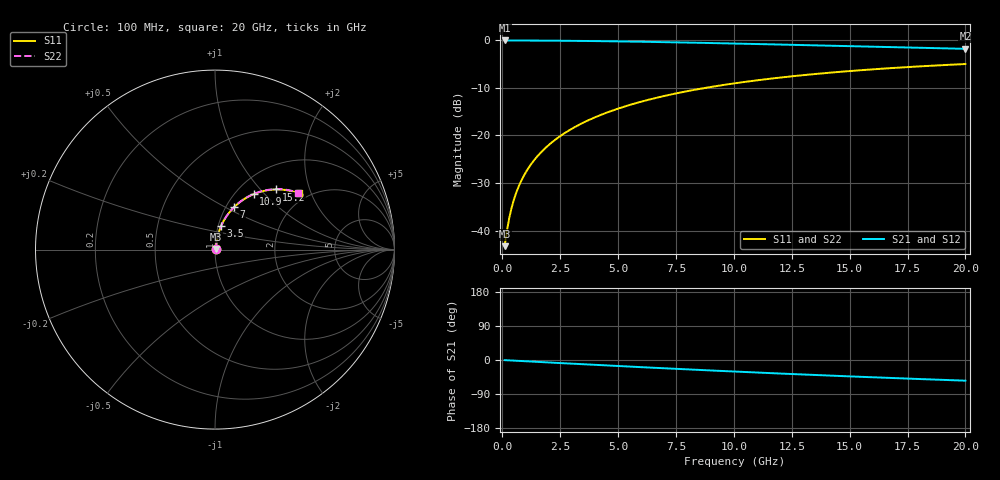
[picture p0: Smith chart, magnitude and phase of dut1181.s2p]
! Touchstone file exported from HFSS 2026.1.0
!  File:  C:/ffzhzh/LocalFiles/Ansys_Project_Files/temp_train_BSMRDL_1181_1783176139_43440.aedt
!  Generated:  10:43:47 PM Jul  4, 2026
!  Design:  BSMRDL
!  Project:  temp_train_BSMRDL_1181_1783176139_43440
! Variables:
!  h_bsmrdl = 3.71um
!  h_ox = 20um
!  h_rdl = 5um
!  h_sub = 80um
!  h_tmrdl = 5um
!  h_tsv = 80um
!  h_via = 3um
!  l_bsmrdl = 779.46um
!  l_sub = 1179.46um
!  l_tmrdl = 200um
!  m_sub = 200um
!  pitch = 49.55um
!  r_tsv = 6um
!  s_tmrdl = 10um
!  w_bsmrdl = 13.65um
!  w_sub = 500um
!  w_tmrdl = 12um
!  x_tsv_center1 = 206um
!  x_tsv_center2 = 999.11um
!  x_tsv_center3 = 1211.11um
!  x_tsv_center4 = 2004.22um
!  x_tsv_center5 = 2216.22um
!  x_tsv_center6 = 3009.33um
# GHz S MA R 50.000000
! Terminal data exported
! Port[1] = BSM_RDL1_1_T1
! Port[2] = BSM_RDL1_1_T2
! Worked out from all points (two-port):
!   200 points, 100 MHz to 20 GHz, reference 50 ohm
!   highest |S21| = -0.05 dB at 100 MHz (marker M1); lowest = -1.8 dB at 20 GHz (marker M2)
!   |S21| within 3 dB of the highest: start of sweep to end of sweep
!   lowest |S11| = -43.3 dB at 100 MHz (marker M3), VSWR 1.01, Z = 50.6 + j0.416 ohm
!   |S11| at or under -10 dB: start of sweep to 8.785 GHz
!   |S22| runs from -43.3 to -5.0 dB; largest |S21 - S12| = 2.6e-15
!   S11 on the Smith chart (normalised r, x): 100 MHz: 1.01, +0.01; 3.5 GHz: 1.03, +0.28; 7 GHz: 1.09, +0.55; 10.9 GHz: 1.21, +0.87; 15.2 GHz: 1.41, +1.23; 20 GHz: 1.79, +1.64
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0.1  0.006866 36.8  0.9945 -0.3  0.9945 -0.3  0.006866 36.8
! Gamma 0 0 0 0
! Port Impedance 50 0 50 0
0.2  0.009957 55.3  0.9944 -0.7  0.9944 -0.7  0.009957 55.3
0.3  0.01356 64.1  0.9942 -1.0  0.9942 -1.0  0.01356 64.1
0.4  0.01732 69.0  0.994 -1.3  0.994 -1.3  0.01732 69.0
0.5  0.02113 72.0  0.9938 -1.6  0.9938 -1.6  0.02113 72.0
0.6  0.02496 74.0  0.9936 -2.0  0.9936 -2.0  0.02496 74.0
0.8  0.03266 76.4  0.9933 -2.6  0.9933 -2.6  0.03266 76.4
1.1  0.04427 78.1  0.9926 -3.6  0.9926 -3.6  0.04427 78.1
1.5  0.05978 78.8  0.9916 -4.9  0.9916 -4.9  0.05978 78.8
2.1  0.08299 78.4  0.9896 -6.8  0.9896 -6.8  0.08299 78.4
2.7  0.106 77.3  0.9871 -8.7  0.9871 -8.7  0.106 77.4
3.5  0.1363 75.5  0.9829 -11.2  0.9829 -11.2  0.1363 75.5
5  0.1912 71.4  0.9726 -15.9  0.9726 -15.9  0.1912 71.5
6.8  0.2533 66.3  0.957 -21.3  0.957 -21.3  0.2533 66.4
7  0.2599 65.7  0.9551 -21.9  0.9551 -21.9  0.2599 65.9
8.5  0.3076 61.5  0.9399 -26.2  0.9399 -26.2  0.3075 61.7
10.1  0.3546 57.2  0.9225 -30.7  0.9225 -30.7  0.3546 57.4
10.9  0.3767 55.1  0.9134 -32.8  0.9134 -32.8  0.3766 55.3
13.4  0.4393 48.8  0.8845 -39.3  0.8845 -39.3  0.4392 49.0
15.2  0.4786 44.5  0.8638 -43.7  0.8638 -43.7  0.4786 44.7
16.7  0.508 41.0  0.8469 -47.2  0.8469 -47.2  0.5079 41.3
20  0.5624 33.8  0.8123 -54.5  0.8123 -54.5  0.5623 34.2
